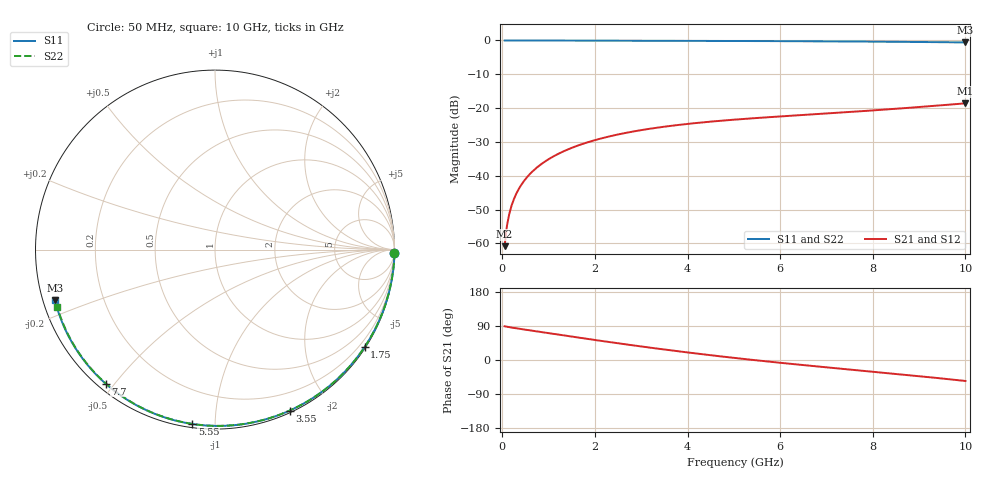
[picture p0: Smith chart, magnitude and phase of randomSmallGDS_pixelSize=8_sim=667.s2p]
! freq	dB(S11)	phase(S11)	dB(S12)	phase(S12)
!  dB(S21)	phase(S21)	dB(S22)	phase(S22)
!S-par simulation data
#  GHz  S  DB  R 50
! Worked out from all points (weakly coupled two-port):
!   200 points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, 50 MHz to 10 GHz, reference 50 ohm
!   highest |S21| = -18.59 dB at 10 GHz (marker M1); lowest = -60.8 dB at 50 MHz (marker M2)
!   lowest |S11| = -0.6 dB at 10 GHz (marker M3), VSWR 29.82, Z = 1.72 - j7.72 ohm
!   |S11| at or under -10 dB: nowhere
!   |S22| runs from -0.6 to 0.0 dB; largest |S21 - S12| = 0
!   S11 on the Smith chart (normalised r, x): 50 MHz: open; 1.75 GHz: 0.03, -3.37; 3.55 GHz: 0.02, -1.57; 5.55 GHz: 0.02, -0.88; 7.7 GHz: 0.02, -0.47; 10 GHz: 0.03, -0.15
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0.05  -0.00 -1.0  -60.82 88.8  -60.82 88.8  -0.00 -0.9
0.1  -0.00 -1.9  -54.82 87.7  -54.82 87.7  -0.00 -1.9
0.15  -0.00 -2.9  -51.32 86.7  -51.32 86.7  -0.00 -2.8
0.2  -0.00 -3.9  -48.84 85.6  -48.84 85.6  -0.00 -3.8
0.25  -0.00 -4.8  -46.93 84.6  -46.93 84.6  -0.00 -4.7
0.35  -0.01 -6.7  -44.04 82.7  -44.04 82.7  -0.01 -6.6
0.5  -0.01 -9.6  -40.99 80.0  -40.99 80.0  -0.01 -9.4
0.7  -0.02 -13.4  -38.13 76.3  -38.13 76.3  -0.02 -13.1
1  -0.02 -19.1  -35.11 70.8  -35.11 70.8  -0.02 -18.6
1.35  -0.03 -25.7  -32.61 64.4  -32.61 64.4  -0.03 -25.1
1.75  -0.05 -33.1  -30.52 57.2  -30.52 57.2  -0.04 -32.3
2.6  -0.07 -48.5  -27.51 42.4  -27.51 42.4  -0.07 -47.4
3.4  -0.09 -62.5  -25.68 29.3  -25.68 29.3  -0.09 -61.1
3.55  -0.10 -65.0  -25.41 26.9  -25.41 26.9  -0.10 -63.6
4.3  -0.12 -77.6  -24.26 15.5  -24.26 15.5  -0.12 -75.9
5.05  -0.15 -89.6  -23.37 5.0  -23.37 5.0  -0.15 -87.8
5.55  -0.18 -97.4  -22.88 -1.6  -22.88 -1.6  -0.18 -95.5
6.7  -0.24 -114.7  -21.85 -15.8  -21.85 -15.8  -0.24 -112.6
7.7  -0.32 -129.2  -20.97 -27.4  -20.97 -27.4  -0.32 -127.0
8.35  -0.38 -138.5  -20.35 -34.9  -20.35 -34.9  -0.38 -136.3
9.2  -0.48 -150.8  -19.47 -45.1  -19.47 -45.1  -0.47 -148.4
10  -0.58 -162.4  -18.59 -55.3  -18.59 -55.3  -0.58 -160.1
